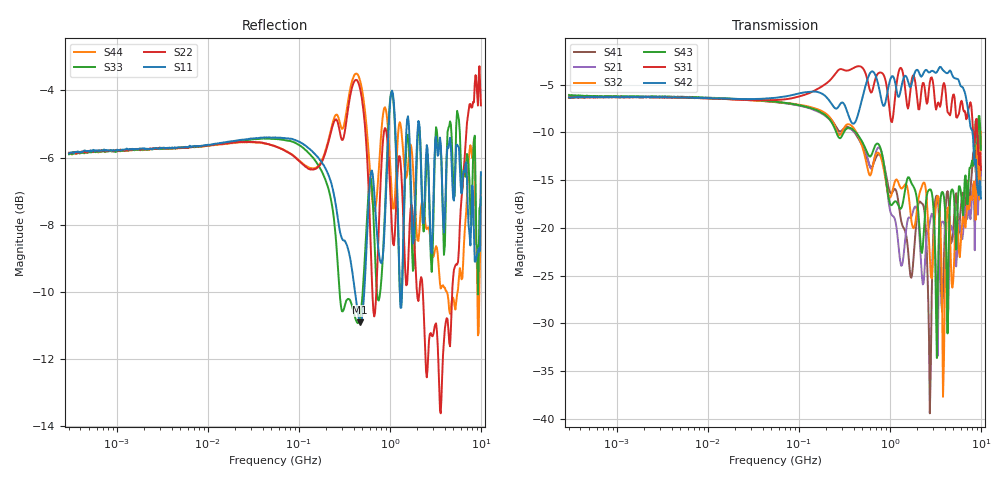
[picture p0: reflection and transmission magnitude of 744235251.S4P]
! This data is being provided by Wuerth Elektronik eiSos GmbH & Co. KG to the industry for analysis.
! Document information:
! Version:rev19a Date: 16/12/2019
! Component information:
! Match Code: WE-CNSW P/N: 744235251 Size: 1812
! Disclaimer:  While Würth Elektronik eiSos has made every reasonable effort to ensure the accuracy
! of the information provided, Würth Elektronik eiSos does not guarantee the exemption of error on the
! data collection measurements, nor does Würth Elektronik eiSos guarantee that the information is current.
! Würth Elektronik eiSos reserves the right to make any adjustments at any time without notice.
! Würth Elektronik eiSos expressly disclaims all implied warranties regarding this measurement data collection.
! Note 1  This data measurement is representative according to the product implementation into the fixture.
! Component behavior is sensitive to implementation into the fixture, which includes board
! materials, trace geometry information, connector pin out, layer connection, use of de-embedding
! techniques, etc.
! Note 2 - The fixture was designed specifically to match the 50 Ohm line impedance, as well as the connector impedance,
! in order to accomplish a reliable measurement without reflections in the trace. Any other implementation of the fixture will change the obtained
! measurement performance. The used fixture behavior was de-embedded to accomplish reliable measurement results.
! The test setup consisted of the following:
!  - Agilent VNA E5071C or E5071B
!  - Calibrations are SOLT (short open load thru)
!  - De-embedding of the SMA's or line cards were included
!  - Equipment Settings -
!  - Sampling - 501 points
!  - IF BW  70 kHz
!  - Averaging  Not used
!  Port 1----->|1|  |2| -----> Port 3
!  |  DUT  |
!  Port 2----->|3|  |4| -----> Port 4
!*VNA Port --> |Port in Datasheet|
! |Port in Datasheet| --> VNA Port
! For further information regarding this testing, please contact
! Wuerth Elektronik eiSos
! Contact: EDA team in QDC
! Email: libraries@we-online.com or libraries@we-online.de
# Hz S dB R 50
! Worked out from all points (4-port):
!   501 points, 300 kHz to 10 GHz, reference 50 ohm
!   strongest paths, dB at 300 kHz, 4.054 MHz, 54.77 MHz, 740.1 MHz, 10 GHz:
!     S42: -6.3, -6.3, -6.4, -4.8, -16.9
!     S31: -6.4, -6.4, -6.6, -3.8, -13.9
!     S43: -6.1, -6.3, -6.8, -11.2, -11.8
!     S32: -6.3, -6.3, -6.8, -12.1, -9.9
!     S21: -6.1, -6.3, -6.8, -11.6, -14.5
!     S41: -6.3, -6.4, -6.8, -12.3, -13.6
!   lowest |S11| = -10.9 dB at 473.4 MHz (marker M1), VSWR 1.80, Z = 87.1 - j12.9 ohm
!   |S11| at or under -10 dB: 414 MHz to 523.4 MHz (109.4 MHz wide, 23.3 % of centre); 1.289 GHz to 1.359 GHz (69.75 MHz wide, 5.27 % of centre)
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300000  -5.87 6.0  -6.10 -6.3  -6.30 6.0  -6.31 -174.2
        -6.08 -6.2  -5.86 5.8  -6.33 -174.3  -6.34 6.0
        -6.37 5.7  -6.33 -174.4  -5.90 6.3  -6.09 -6.6
        -6.34 -174.3  -6.34 6.2  -6.10 -6.3  -5.88 6.0
4.734102e8  -10.90 -13.8  -10.71 134.7  -3.09 -12.4  -10.99 -36.9
            -10.72 134.7  -3.97 -34.3  -10.88 -31.3  -7.25 16.7
            -3.08 -12.4  -10.89 -31.2  -10.72 -5.9  -10.64 147.7
            -10.99 -37.0  -7.25 16.7  -10.64 147.7  -3.73 -25.9
2.30314e9  -7.95 -47.9  -26.00 -136.2  -4.82 -36.8  -17.54 38.2
           -25.93 -136.8  -9.99 -63.1  -15.37 31.1  -3.95 -31.2
           -4.82 -36.8  -15.38 31.3  -7.93 -49.7  -22.02 -170.7
           -17.52 38.0  -3.94 -31.1  -21.99 -170.8  -7.38 -58.9
2.748926e9  -7.92 -64.6  -19.47 40.6  -4.75 -40.6  -39.18 -84.6
            -19.45 40.3  -11.26 -54.9  -23.27 -108.6  -3.70 -43.4
            -4.75 -40.6  -23.25 -108.2  -7.89 -64.4  -15.96 43.7
            -39.43 -86.8  -3.70 -43.4  -15.97 43.5  -8.28 -68.9
3.219394e9  -5.38 -60.5  -25.34 -72.5  -7.61 -60.5  -16.70 39.9
            -25.41 -73.1  -10.94 -61.5  -17.54 47.2  -3.77 -53.4
            -7.61 -60.5  -17.55 47.5  -5.10 -53.9  -28.84 -88.4
            -16.69 39.7  -3.76 -53.4  -28.98 -89.1  -8.64 -71.3
8.390004e9  -8.23 -148.1  -16.10 -95.8  -11.29 -154.9  -11.94 -90.8
            -16.06 -96.1  -4.36 -128.0  -15.15 -78.1  -12.53 168.6
            -11.31 -155.0  -15.15 -78.7  -5.49 -145.2  -12.83 -73.1
            -11.95 -90.6  -12.54 168.9  -12.86 -73.4  -5.45 -164.2
1e10  -6.44 -145.7  -14.52 -130.7  -13.97 155.9  -13.52 -170.9
      -14.54 -131.0  -4.44 176.6  -9.93 -97.6  -16.98 162.3
      -13.91 155.7  -9.91 -97.3  -7.20 -179.4  -11.86 175.6
      -13.58 -170.6  -16.92 163.0  -11.81 175.3  -6.58 -45.8
